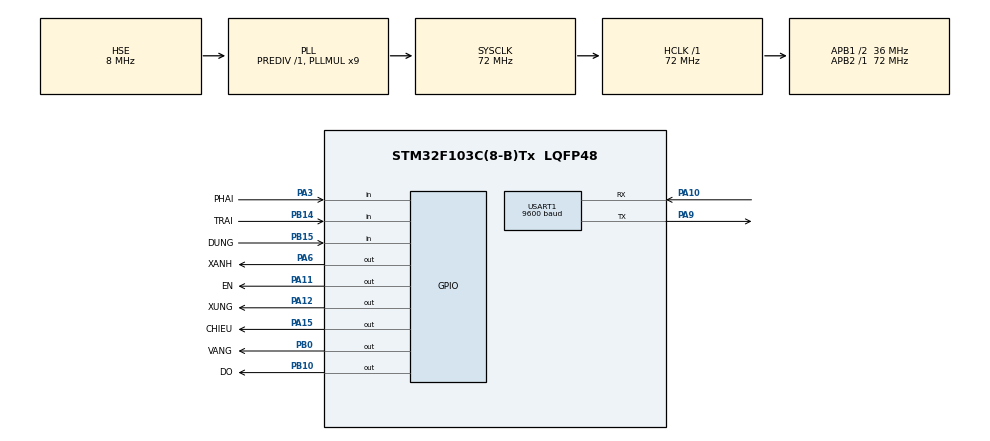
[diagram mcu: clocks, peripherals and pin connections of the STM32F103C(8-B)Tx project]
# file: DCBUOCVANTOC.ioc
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Mcu.Family=STM32F1
Mcu.Name=STM32F103C(8-B)Tx
Mcu.Package=LQFP48
NVIC.PriorityGroup=NVIC_PRIORITYGROUP_4
NVIC.TIM2_IRQn=true\:0\:0\:false\:false\:true\:true\:true\:true
NVIC.TIM3_IRQn=true\:0\:0\:false\:false\:true\:true\:true\:true
NVIC.TIM4_IRQn=true\:0\:0\:false\:false\:true\:true\:true\:true
NVIC.USART1_IRQn=true\:0\:0\:false\:false\:true\:true\:true\:true
PA10.Mode=Asynchronous
PA10.Signal=USART1_RX
PA11.GPIO_Label=EN
PA11.Signal=GPIO_Output
PA12.GPIO_Label=XUNG
PA12.Signal=GPIO_Output
PA13.Mode=Serial_Wire
PA13.Signal=SYS_JTMS-SWDIO
PA14.Mode=Serial_Wire
PA14.Signal=SYS_JTCK-SWCLK
PA15.GPIO_Label=CHIEU
PA15.Signal=GPIO_Output
PA3.GPIO_Label=PHAI
PA3.GPIO_PuPd=GPIO_PULLUP
PA3.Signal=GPIO_Input
PA6.GPIO_Label=XANH
PA6.Signal=GPIO_Output
PA9.Mode=Asynchronous
PA9.Signal=USART1_TX
PB0.GPIO_Label=VANG
PB0.Signal=GPIO_Output
PB10.GPIO_Label=DO
PB10.Signal=GPIO_Output
PB14.GPIO_Label=TRAI
PB14.GPIO_PuPd=GPIO_PULLUP
PB14.Signal=GPIO_Input
PB15.GPIO_Label=DUNG
PB15.GPIO_PuPd=GPIO_PULLUP
PB15.Signal=GPIO_Input
PD0-OSC_IN.Mode=HSE-External-Oscillator
PD0-OSC_IN.Signal=RCC_OSC_IN
PD1-OSC_OUT.Mode=HSE-External-Oscillator
PD1-OSC_OUT.Signal=RCC_OSC_OUT
ProjectManager.HeapSize=0x200
ProjectManager.StackSize=0x400
ProjectManager.TargetToolchain=MDK-ARM V5
RCC.AHBFreq_Value=72000000
RCC.APB1CLKDivider=RCC_HCLK_DIV2
RCC.APB1Freq_Value=36000000
RCC.APB1TimFreq_Value=72000000
RCC.APB2Freq_Value=72000000
RCC.APB2TimFreq_Value=72000000
RCC.HCLKFreq_Value=72000000
RCC.PLLMUL=RCC_PLL_MUL9
RCC.PLLSourceVirtual=RCC_PLLSOURCE_HSE
RCC.SYSCLKFreq_VALUE=72000000
RCC.SYSCLKSource=RCC_SYSCLKSOURCE_PLLCLK
RCC.USBFreq_Value=72000000
TIM2.Period=9
TIM2.Prescaler=7200
TIM3.Period=9
TIM3.Prescaler=7200
TIM4.Period=9
TIM4.Prescaler=7200
USART1.BaudRate=9600
USART1.VirtualMode=VM_ASYNC
VP_TIM2_VS_ClockSourceINT.Mode=Internal
VP_TIM3_VS_ClockSourceINT.Mode=Internal
VP_TIM4_VS_ClockSourceINT.Mode=Internal
board=custom

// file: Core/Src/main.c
/* USER CODE BEGIN Header */
/**
  ******************************************************************************
  * @file           : main.c
  * @brief          : Main program body
  ******************************************************************************
  * @attention
  *
  * Copyright (c) 2022 STMicroelectronics.
  * All rights reserved.
  *
  * This software is licensed under terms that can be found in the LICENSE file
  * in the root directory of this software component.
  * If no LICENSE file comes with this software, it is provided AS-IS.
  *
  ******************************************************************************
  */
/* USER CODE END Header */
#include "main.h"

/* USER CODE BEGIN Includes */
#include "ser_timer.h"
/* USER CODE END Includes */

TIM_HandleTypeDef htim2;
TIM_HandleTypeDef htim3;
TIM_HandleTypeDef htim4;

UART_HandleTypeDef huart1;

/* USER CODE BEGIN PV */
extern uint16_t tocdo;
extern uint8_t chieu;
uint8_t tocdocai = 1;
uint8_t data[30];
uint8_t flag = 0;
uint8_t chiso2 = 0;
uint8_t chiso = 0;
uint16_t tocdonhan;
uint8_t trangthai = 0;
/* USER CODE END PV */

void SystemClock_Config(void);
static void MX_GPIO_Init(void);
static void MX_TIM2_Init(void);
static void MX_TIM3_Init(void);
static void MX_TIM4_Init(void);
static void MX_USART1_UART_Init(void);

/* USER CODE BEGIN 0 */
void HAL_UART_RxCpltCallback(UART_HandleTypeDef *huart)
{
	if(huart->Instance == huart1.Instance)
	{
		if(data[chiso] != '#')
		{
			chiso++;
		}
		else
		{
			flag = 1;
			chiso = 0;
		}
		HAL_UART_Receive_IT(&huart1, &data[chiso], 1);
	}
}
void MT_Control(uint16_t speed)
{
	tocdo = speed;
}

void caidatnutan(PVOID pData)
{
	if(HAL_GPIO_ReadPin(TRAI_GPIO_Port,TRAI_Pin) == 0)
	{
		trangthai = 1;
	}
	else if(HAL_GPIO_ReadPin(PHAI_GPIO_Port,PHAI_Pin) == 0)
	{
		trangthai = 3;
	}
	else if(HAL_GPIO_ReadPin(DUNG_GPIO_Port,DUNG_Pin) == 0)
	{
		trangthai = 2;
	}
	StartShortTimer(100, caidatnutan, NULL);
}

void dieukhien(PVOID pData)
{
	if(trangthai == 1)
	{
		HAL_GPIO_WritePin(EN_GPIO_Port, EN_Pin, GPIO_PIN_RESET);
		chieu = 0;
	}
	else if(trangthai == 3)
	{
		HAL_GPIO_WritePin(EN_GPIO_Port, EN_Pin, GPIO_PIN_RESET);
		chieu = 1;
	}
	else if(trangthai == 2)
	{
		HAL_GPIO_WritePin(EN_GPIO_Port, EN_Pin, GPIO_PIN_SET);
	}
	StartShortTimer(50, dieukhien, NULL);
}

void nhandulieuuart(PVOID pData)
{
	if(flag == 1)
	{
		chiso2 = 1;
		tocdonhan = 0;
		while(data[chiso2] != '#')
		{
			if(data[0] == 'A')
			{
				tocdonhan = tocdonhan*10 + data[chiso2] - 48;
				if(data[0] == 'A')
				{
					tocdocai = 100/tocdonhan;
				}
			}
			chiso2++;
		}
		flag = 0;
		chiso2 = 1;
	}
	StartShortTimer(30, nhandulieuuart, NULL);
}
/* USER CODE END 0 */

int main(void)
{

  /* MCU Configuration--------------------------------------------------------*/

  /* Reset of all peripherals, Initializes the Flash interface and the Systick. */
  HAL_Init();

  /* Configure the system clock */
  SystemClock_Config();

  /* Initialize all configured peripherals */
  MX_GPIO_Init();
  MX_TIM2_Init();
  MX_TIM3_Init();
  MX_TIM4_Init();
  MX_USART1_UART_Init();
  /* USER CODE BEGIN 2 */
	HAL_GPIO_WritePin(EN_GPIO_Port, EN_Pin, GPIO_PIN_RESET);
	HAL_TIM_Base_Start_IT(&htim2);
	HAL_TIM_Base_Start_IT(&htim3);
	HAL_TIM_Base_Start_IT(&htim4);
	dieukhien(NULL);
	nhandulieuuart(NULL);
	caidatnutan(NULL);
	HAL_UART_Receive_IT(&huart1, data, 1);
  /* USER CODE END 2 */

  /* Infinite loop */
  while (1)
  {

    /* USER CODE BEGIN 3 */
		ProcessTimerEvents();
  }
  /* USER CODE END 3 */
}

void SystemClock_Config(void)
{
  RCC_OscInitTypeDef RCC_OscInitStruct = {0};
  RCC_ClkInitTypeDef RCC_ClkInitStruct = {0};

  /** Initializes the RCC Oscillators according to the specified parameters
  * in the RCC_OscInitTypeDef structure.
  */
  RCC_OscInitStruct.OscillatorType = RCC_OSCILLATORTYPE_HSE;
  RCC_OscInitStruct.HSEState = RCC_HSE_ON;
  RCC_OscInitStruct.HSEPredivValue = RCC_HSE_PREDIV_DIV1;
  RCC_OscInitStruct.HSIState = RCC_HSI_ON;
  RCC_OscInitStruct.PLL.PLLState = RCC_PLL_ON;
  RCC_OscInitStruct.PLL.PLLSource = RCC_PLLSOURCE_HSE;
  RCC_OscInitStruct.PLL.PLLMUL = RCC_PLL_MUL9;
  if (HAL_RCC_OscConfig(&RCC_OscInitStruct) != HAL_OK)
  {
    Error_Handler();
  }

  /** Initializes the CPU, AHB and APB buses clocks
  */
  RCC_ClkInitStruct.ClockType = RCC_CLOCKTYPE_HCLK|RCC_CLOCKTYPE_SYSCLK
                              |RCC_CLOCKTYPE_PCLK1|RCC_CLOCKTYPE_PCLK2;
  RCC_ClkInitStruct.SYSCLKSource = RCC_SYSCLKSOURCE_PLLCLK;
  RCC_ClkInitStruct.AHBCLKDivider = RCC_SYSCLK_DIV1;
  RCC_ClkInitStruct.APB1CLKDivider = RCC_HCLK_DIV2;
  RCC_ClkInitStruct.APB2CLKDivider = RCC_HCLK_DIV1;

  if (HAL_RCC_ClockConfig(&RCC_ClkInitStruct, FLASH_LATENCY_2) != HAL_OK)
  {
    Error_Handler();
  }
}

static void MX_TIM2_Init(void)
{

  TIM_ClockConfigTypeDef sClockSourceConfig = {0};
  TIM_MasterConfigTypeDef sMasterConfig = {0};

  htim2.Instance = TIM2;
  htim2.Init.Prescaler = 7200;
  htim2.Init.CounterMode = TIM_COUNTERMODE_UP;
  htim2.Init.Period = 9;
  htim2.Init.ClockDivision = TIM_CLOCKDIVISION_DIV1;
  htim2.Init.AutoReloadPreload = TIM_AUTORELOAD_PRELOAD_DISABLE;
  if (HAL_TIM_Base_Init(&htim2) != HAL_OK)
  {
    Error_Handler();
  }
  sClockSourceConfig.ClockSource = TIM_CLOCKSOURCE_INTERNAL;
  if (HAL_TIM_ConfigClockSource(&htim2, &sClockSourceConfig) != HAL_OK)
  {
    Error_Handler();
  }
  sMasterConfig.MasterOutputTrigger = TIM_TRGO_RESET;
  sMasterConfig.MasterSlaveMode = TIM_MASTERSLAVEMODE_DISABLE;
  if (HAL_TIMEx_MasterConfigSynchronization(&htim2, &sMasterConfig) != HAL_OK)
  {
    Error_Handler();
  }

}

static void MX_TIM3_Init(void)
{

  TIM_ClockConfigTypeDef sClockSourceConfig = {0};
  TIM_MasterConfigTypeDef sMasterConfig = {0};

  htim3.Instance = TIM3;
  htim3.Init.Prescaler = 7200;
  htim3.Init.CounterMode = TIM_COUNTERMODE_UP;
  htim3.Init.Period = 9;
  htim3.Init.ClockDivision = TIM_CLOCKDIVISION_DIV1;
  htim3.Init.AutoReloadPreload = TIM_AUTORELOAD_PRELOAD_DISABLE;
  if (HAL_TIM_Base_Init(&htim3) != HAL_OK)
  {
    Error_Handler();
  }
  sClockSourceConfig.ClockSource = TIM_CLOCKSOURCE_INTERNAL;
  if (HAL_TIM_ConfigClockSource(&htim3, &sClockSourceConfig) != HAL_OK)
  {
    Error_Handler();
  }
  sMasterConfig.MasterOutputTrigger = TIM_TRGO_RESET;
  sMasterConfig.MasterSlaveMode = TIM_MASTERSLAVEMODE_DISABLE;
  if (HAL_TIMEx_MasterConfigSynchronization(&htim3, &sMasterConfig) != HAL_OK)
  {
    Error_Handler();
  }

}

static void MX_TIM4_Init(void)
{

  TIM_ClockConfigTypeDef sClockSourceConfig = {0};
  TIM_MasterConfigTypeDef sMasterConfig = {0};

  htim4.Instance = TIM4;
  htim4.Init.Prescaler = 7200;
  htim4.Init.CounterMode = TIM_COUNTERMODE_UP;
  htim4.Init.Period = 9;
  htim4.Init.ClockDivision = TIM_CLOCKDIVISION_DIV1;
  htim4.Init.AutoReloadPreload = TIM_AUTORELOAD_PRELOAD_DISABLE;
  if (HAL_TIM_Base_Init(&htim4) != HAL_OK)
  {
    Error_Handler();
  }
  sClockSourceConfig.ClockSource = TIM_CLOCKSOURCE_INTERNAL;
  if (HAL_TIM_ConfigClockSource(&htim4, &sClockSourceConfig) != HAL_OK)
  {
    Error_Handler();
  }
  sMasterConfig.MasterOutputTrigger = TIM_TRGO_RESET;
  sMasterConfig.MasterSlaveMode = TIM_MASTERSLAVEMODE_DISABLE;
  if (HAL_TIMEx_MasterConfigSynchronization(&htim4, &sMasterConfig) != HAL_OK)
  {
    Error_Handler();
  }

}

static void MX_USART1_UART_Init(void)
{

  huart1.Instance = USART1;
  huart1.Init.BaudRate = 9600;
  huart1.Init.WordLength = UART_WORDLENGTH_8B;
  huart1.Init.StopBits = UART_STOPBITS_1;
  huart1.Init.Parity = UART_PARITY_NONE;
  huart1.Init.Mode = UART_MODE_TX_RX;
  huart1.Init.HwFlowCtl = UART_HWCONTROL_NONE;
  huart1.Init.OverSampling = UART_OVERSAMPLING_16;
  if (HAL_UART_Init(&huart1) != HAL_OK)
  {
    Error_Handler();
  }

}

static void MX_GPIO_Init(void)
{
  GPIO_InitTypeDef GPIO_InitStruct = {0};

  /* GPIO Ports Clock Enable */
  __HAL_RCC_GPIOD_CLK_ENABLE();
  __HAL_RCC_GPIOA_CLK_ENABLE();
  __HAL_RCC_GPIOB_CLK_ENABLE();

  /*Configure GPIO pin Output Level */
  HAL_GPIO_WritePin(GPIOA, XANH_Pin|EN_Pin|XUNG_Pin|CHIEU_Pin, GPIO_PIN_RESET);

  /*Configure GPIO pin Output Level */
  HAL_GPIO_WritePin(GPIOB, VANG_Pin|DO_Pin, GPIO_PIN_RESET);

  /*Configure GPIO pin : PHAI_Pin */
  GPIO_InitStruct.Pin = PHAI_Pin;
  GPIO_InitStruct.Mode = GPIO_MODE_INPUT;
  GPIO_InitStruct.Pull = GPIO_PULLUP;
  HAL_GPIO_Init(PHAI_GPIO_Port, &GPIO_InitStruct);

  /*Configure GPIO pins : XANH_Pin EN_Pin XUNG_Pin CHIEU_Pin */
  GPIO_InitStruct.Pin = XANH_Pin|EN_Pin|XUNG_Pin|CHIEU_Pin;
  GPIO_InitStruct.Mode = GPIO_MODE_OUTPUT_PP;
  GPIO_InitStruct.Pull = GPIO_NOPULL;
  GPIO_InitStruct.Speed = GPIO_SPEED_FREQ_LOW;
  HAL_GPIO_Init(GPIOA, &GPIO_InitStruct);

  /*Configure GPIO pins : VANG_Pin DO_Pin */
  GPIO_InitStruct.Pin = VANG_Pin|DO_Pin;
  GPIO_InitStruct.Mode = GPIO_MODE_OUTPUT_PP;
  GPIO_InitStruct.Pull = GPIO_NOPULL;
  GPIO_InitStruct.Speed = GPIO_SPEED_FREQ_LOW;
  HAL_GPIO_Init(GPIOB, &GPIO_InitStruct);

  /*Configure GPIO pins : TRAI_Pin DUNG_Pin */
  GPIO_InitStruct.Pin = TRAI_Pin|DUNG_Pin;
  GPIO_InitStruct.Mode = GPIO_MODE_INPUT;
  GPIO_InitStruct.Pull = GPIO_PULLUP;
  HAL_GPIO_Init(GPIOB, &GPIO_InitStruct);

}

void Error_Handler(void)
{
  __disable_irq();
  while (1)
  {
  }
}
